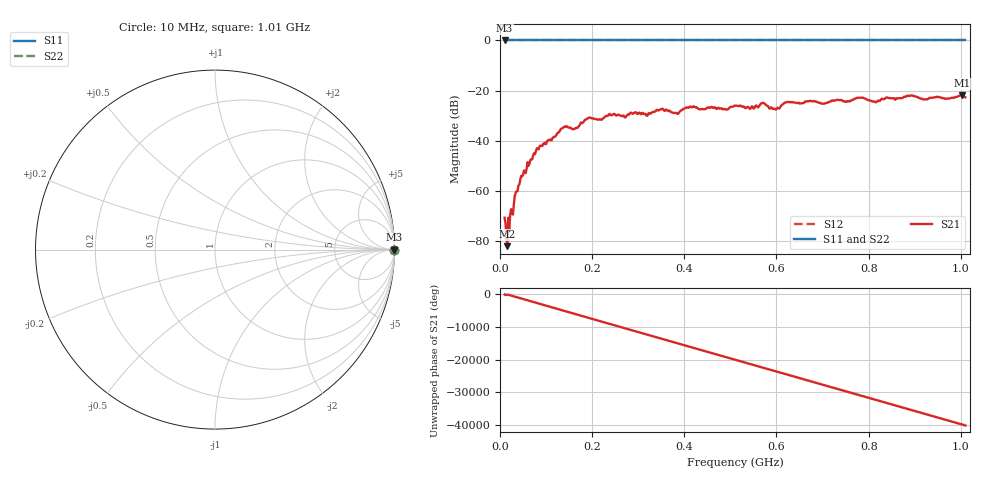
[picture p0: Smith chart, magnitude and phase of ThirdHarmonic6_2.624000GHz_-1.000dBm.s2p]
! 8/17/2025 5:49:38 AM
! C:\ANRITSUVNA\TEMP\TEMP.S2P
! CHANNEL.1
! TR.MEASUREMENT
! RAW.DATA
! RF.CORRECTION.OFF
! AVERAGING.OFF
! IF.BANDWIDTH: 5KHZ
! SWEEPTYPE:  FREQ.SWEEP(Linear)
! Reference Plane Port Info
! PORT:  PORT1  PORT2
! DISTANCE:  0  m  0  m
! TIME:  0  s  0  s
! PHASE.OFFSET:  0  deg.  0  deg.
! LOSS:  0  dB  0  dB
! REF.LOSS:  0  dB  0  dB
! REF.FREQ:  0  Hz  0  Hz
! Power Info
! POWER:  -20  dBm  -20  dBm
! EFF.POWER:  -20  dBm  -20  dBm
! SOURCE.ATTEN:  0  dB  0  dB
! TEST.ATTEN:  0  dB  0  dB
# GHZ S RI R 50.0
! FREQ.GHZ  S11RE  S11IM  S21RE  S21IM  S12RE  S12IM  S22RE  S22IM
!; PortSelection: Port_12
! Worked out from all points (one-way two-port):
!   501 points, 10 MHz to 1.01 GHz, reference 50 ohm
!   highest |S21| = -21.88 dB at 1.002 GHz (marker M1); lowest = -82.0 dB at 16 MHz (marker M2)
!   lowest |S11| = 0.0 dB at 10 MHz (marker M3)
!   |S11| at or under -10 dB: nowhere
!   |S22| runs from 0.0 to 0.0 dB; largest |S21 - S12| = 1.1
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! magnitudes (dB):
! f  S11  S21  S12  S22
! 10 MHz  0.0  -70.6  0.0  0.0
! 16 MHz  0.0  -82.0  0.0  0.0
! 36 MHz  0.0  -60.1  0.0  0.0
! 44 MHz  0.0  -55.4  0.0  0.0
! 78 MHz  0.0  -44.0  0.0  0.0
! 136 MHz  0.0  -34.9  0.0  0.0
! 162 MHz  0.0  -35.3  0.0  0.0
! 178 MHz  0.0  -33.0  0.0  0.0
! 194 MHz  0.0  -30.7  0.0  0.0
! 316 MHz  0.0  -29.3  0.0  0.0
! 344 MHz  0.0  -28.0  0.0  0.0
! 384 MHz  0.0  -29.1  0.0  0.0
! 416 MHz  0.0  -26.7  0.0  0.0
! 510 MHz  0.0  -25.9  0.0  0.0
! 546 MHz  0.0  -26.3  0.0  0.0
! 570 MHz  0.0  -24.9  0.0  0.0
! 596 MHz  0.0  -27.2  0.0  0.0
! 622 MHz  0.0  -24.6  0.0  0.0
! 678 MHz  0.0  -24.3  0.0  0.0
! 844 MHz  0.0  -23.0  0.0  0.0
! 1.002 GHz  0.0  -21.9  0.0  0.0
! 1.01 GHz  0.0  -22.6  0.0  0.0
